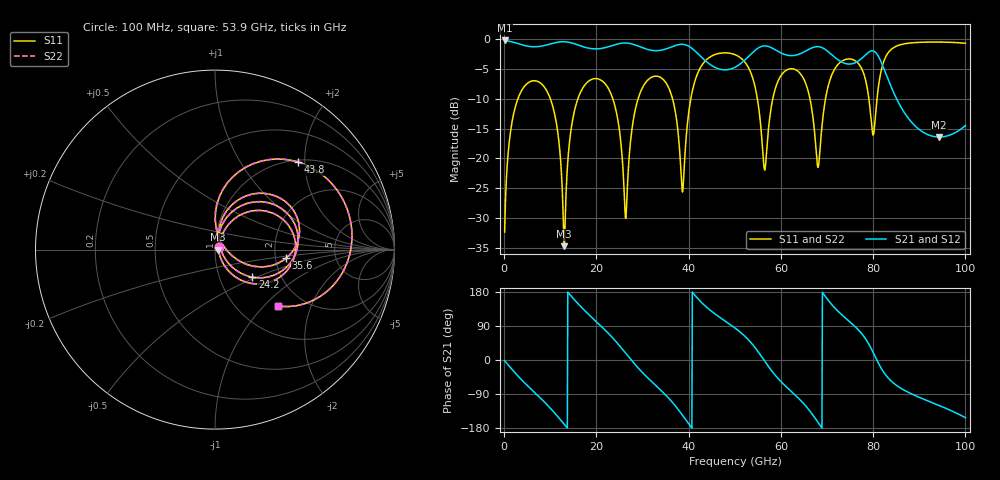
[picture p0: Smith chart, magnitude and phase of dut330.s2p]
! Touchstone file exported from HFSS 2026.1.0
!  File:  C:/ffzhzh/LocalFiles/Ansys_Project_Files/temp_train_TSV_RDL_330_1783703786_44652.aedt
!  Generated:  01:28:59 AM Jul 11, 2026
!  Design:  TSV_RDL
!  Project:  temp_train_TSV_RDL_330_1783703786_44652
! Variables:
!  h_bsmrdl = 2.67um
!  h_ox = 20um
!  h_rdl = 5um
!  h_sub = 62.61um
!  h_tmrdl = 3.42um
!  h_tsv = 62.61um
!  h_via = 3um
!  l_bsmrdl = 549.93um
!  l_sub = 4406.88um
!  l_tmrdl = 552.77um
!  m_sub = 200um
!  pitch = 48.29um
!  r_tsv = 14.45um
!  s_tmrdl = 10um
!  w_bsmrdl = 27.86um
!  w_sub = 500um
!  w_tmrdl = 20.81um
!  x_tsv_center1 = 563.175um
!  x_tsv_center2 = 1140.965um
!  x_tsv_center3 = 1714.545um
!  x_tsv_center4 = 2292.335um
!  x_tsv_center5 = 2865.915um
!  x_tsv_center6 = 3443.705um
# GHz S MA R 50.000000
! Terminal data exported
! Port[1] = TM_RDL1_1_T1
! Port[2] = TM_RDL5_1_T1
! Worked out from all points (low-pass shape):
!   1000 points, 100 MHz to 100 GHz, reference 50 ohm
!   highest |S21| = -0.17 dB at 100 MHz (marker M1); lowest = -16.4 dB at 94.3 GHz (marker M2)
!   |S21| within 3 dB of the highest: start of sweep to 43.05 GHz; 52.58 GHz to 71.96 GHz (19.38 GHz wide, 31.1 % of centre) (the widest 2 of 3)
!   lowest |S11| = -34.7 dB at 13 GHz (marker M3), VSWR 1.04, Z = 51.9 - j0.0683 ohm
!   |S11| at or under -10 dB: 10.03 GHz to 15.97 GHz (5.946 GHz wide, 45.7 % of centre); 23.57 GHz to 29.03 GHz (5.464 GHz wide, 20.8 % of centre); 36.51 GHz to 40.46 GHz (3.947 GHz wide, 10.3 % of centre) (the widest 3 of 7)
!   |S22| runs from -34.4 to -0.4 dB; largest |S21 - S12| = 2.2e-14
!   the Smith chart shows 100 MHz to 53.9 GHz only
!   S11 on the Smith chart (normalised r, x): 100 MHz: 1.04, +0.03; 24.2 GHz: 1.43, -0.47; 35.6 GHz: 2.29, -0.26; 43.8 GHz: 1.04, +1.84; 53.9 GHz: 1.50, -1.21
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0.1  0.02405 33.8  0.9803 -1.6  0.9803 -1.6  0.02405 33.8
! Gamma 0 0 0 0
! Port Impedance 50 0 50 0
6.4  0.4498 4.4  0.8675 -83.4  0.8675 -83.4  0.4498 4.4
13  0.01833 -2.1  0.9564 -169.2  0.9564 -169.2  0.0191 -1.4
16.8  0.3759 45.1  0.8764 138.5  0.8764 138.5  0.376 45.0
24.2  0.2579 -36.5  0.9072 49.2  0.9072 49.2  0.258 -36.5
26.4  0.03163 28.6  0.9334 17.2  0.9334 17.2  0.03197 28.3
33.4  0.4885 16.5  0.8059 -73.2  0.8059 -73.2  0.4885 16.4
35.6  0.3981 -7.0  0.8453 -99.8  0.8453 -99.8  0.3981 -7.2
38.7  0.05225 37.5  0.9097 -146.4  0.9097 -146.4  0.05067 37.5
43.8  0.6709 46.7  0.6536 140.2  0.6536 140.2  0.6708 46.8
50.1  0.7432 -4.6  0.5853 84.0  0.5853 84.0  0.7433 -4.6
53.9  0.4716 -41.8  0.7779 40.4  0.7779 40.4  0.4718 -41.7
56.5  0.07992 0.3  0.8823 -3.2  0.8823 -3.2  0.07995 0.2
59.7  0.4734 31.5  0.7814 -52.9  0.7814 -52.9  0.4731 31.6
66.7  0.2599 -35.9  0.8486 -141.3  0.8486 -141.3  0.26 -35.6
68.1  0.08435 19.0  0.8698 -165.4  0.8698 -165.4  0.08573 19.1
71.2  0.5209 46.5  0.7341 143.9  0.7341 143.9  0.5211 46.4
76.8  0.6272 -6.5  0.6596 79.5  0.6596 79.5  0.6273 -6.5
80  0.1569 14.7  0.8012 20.0  0.8012 20.0  0.1586 14.8
83.4  0.7856 31.2  0.4457 -49.2  0.4457 -49.2  0.7859 31.1
94.3  0.9502 -30.2  0.1515 -120.0  0.1515 -120.0  0.9502 -30.2
100  0.9291 -59.6  0.1891 -152.2  0.1891 -152.2  0.9291 -59.6
